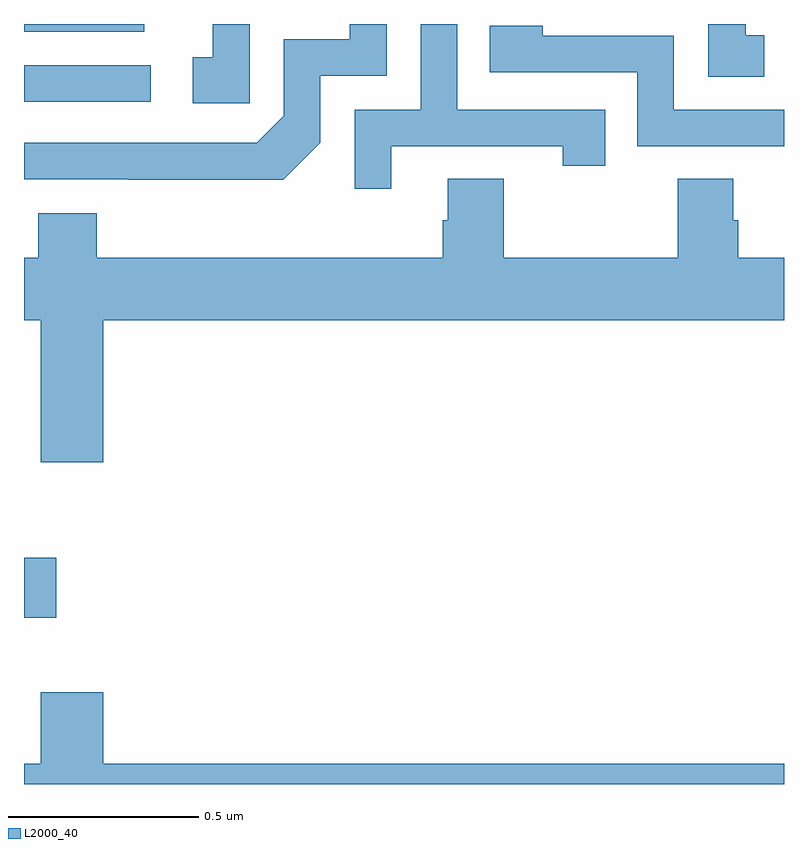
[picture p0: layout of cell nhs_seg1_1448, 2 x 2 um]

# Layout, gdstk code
import gdstk
lib = gdstk.Library(unit=1e-6, precision=1e-09)
def R(c, l, rs):  # rectangles x0, y0, x1, y1
    for r in rs: c.add(gdstk.rectangle(r[:2], r[2:], *l))
def P(c, l, *ps):  # polygons
    for p in ps: c.add(gdstk.Polygon(p, *l))
L2000_40 = (2000, 40)

nhs_seg1_1448 = lib.new_cell('nhs_seg1_1448')
R(nhs_seg1_1448, L2000_40, [(129,529.637,129.085,529.795), (129,530.994,129.334,531.09), (129,531.179,129.316,531.199)])
P(nhs_seg1_1448, L2000_40, [(129.594,531.199),(129.497,531.199),(129.497,531.111),(129.444,531.111),(129.444,530.991),(129.594,530.991)],
  [(129.78,530.886),(129.78,531.063),(129.954,531.063),(129.954,531.199),(129.857,531.199),(129.857,531.159),(129.684,531.159),(129.684,530.958),(129.612,530.886),(129,530.886),(129,530.79),(129.274,530.79),(129.274,530.789),(129.682,530.789)],
  [(129.967,530.877),(130.418,530.877),(130.418,530.826),(130.529,530.826),(130.529,530.973),(130.14,530.973),(130.14,531.199),(130.044,531.199),(130.044,530.973),(129.87,530.973),(129.87,530.766),(129.967,530.766)],
  [(130.948,531.169),(130.899,531.169),(130.899,531.199),(130.8,531.199),(130.8,531.06),(130.948,531.06)],
  [(131,530.973),(130.71,530.973),(130.71,531.168),(130.365,531.168),(130.365,531.195),(130.225,531.195),(130.225,531.072),(130.614,531.072),(130.614,530.877),(131,530.877)],
  [(129.208,530.42),(131,530.42),(131,530.584),(130.88,530.584),(130.88,530.682),(130.867,530.682),(130.867,530.792),(130.72,530.792),(130.72,530.584),(130.263,530.584),(130.263,530.792),(130.115,530.792),(130.115,530.682),(130.102,530.682),(130.102,530.584),(129.191,530.584),(129.191,530.701),(129.038,530.701),(129.038,530.584),(129,530.584),(129,530.42),(129.044,530.42),(129.044,530.046),(129.208,530.046)],
  [(131,529.252),(129.208,529.252),(129.208,529.441),(129.044,529.441),(129.044,529.252),(129,529.252),(129,529.199),(131,529.199)])

lib.write_gds('nhs_seg1_1448.gds')
